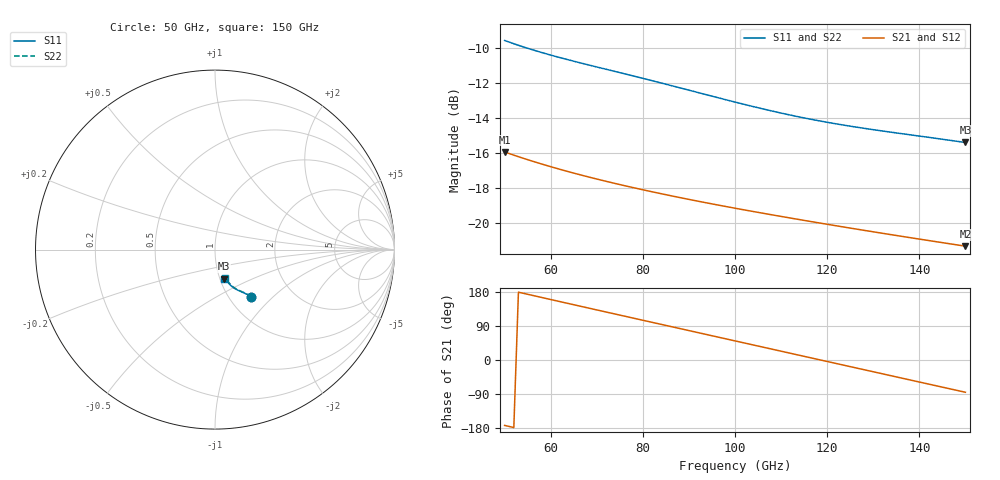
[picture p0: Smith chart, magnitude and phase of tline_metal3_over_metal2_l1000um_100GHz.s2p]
#  GHZ S DB R 50
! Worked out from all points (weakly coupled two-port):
!   101 points, 50 GHz to 150 GHz, reference 50 ohm
!   highest |S21| = -15.95 dB at 50 GHz (marker M1); lowest = -21.3 dB at 150 GHz (marker M2)
!   lowest |S11| = -15.4 dB at 150 GHz (marker M3), VSWR 1.41, Z = 52.2 - j17.4 ohm
!   |S11| at or under -10 dB: 54.52 GHz to end of sweep
!   |S22| runs from -15.6 to -9.6 dB; largest |S21 - S12| = 1.2e-13
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50  -9.59 -52.5  -15.95 -172.6  -15.95 -172.6  -9.61 -52.3
54  -9.96 -53.5  -16.31 176.2  -16.31 176.2  -9.98 -53.3
58  -10.28 -54.5  -16.64 165.1  -16.64 165.1  -10.30 -54.3
63  -10.64 -55.8  -17.02 151.4  -17.02 151.4  -10.67 -55.5
67  -10.91 -56.9  -17.30 140.4  -17.30 140.4  -10.94 -56.6
72  -11.24 -58.4  -17.63 126.7  -17.63 126.7  -11.27 -58.1
76  -11.49 -59.6  -17.87 115.8  -17.87 115.8  -11.54 -59.3
80  -11.76 -60.8  -18.11 104.9  -18.11 104.9  -11.80 -60.5
84  -12.02 -62.0  -18.34 94.0  -18.34 94.0  -12.08 -61.6
88  -12.29 -63.2  -18.55 83.1  -18.55 83.1  -12.35 -62.7
92  -12.57 -64.2  -18.76 72.2  -18.76 72.2  -12.63 -63.7
100  -13.11 -66.0  -19.16 50.4  -19.16 50.4  -13.19 -65.4
105  -13.43 -66.9  -19.40 36.8  -19.40 36.8  -13.53 -66.2
109  -13.68 -67.4  -19.58 26.0  -19.58 26.0  -13.78 -66.7
113  -13.90 -67.9  -19.77 15.1  -19.77 15.1  -14.02 -67.1
117  -14.11 -68.4  -19.94 4.2  -19.94 4.2  -14.23 -67.5
121  -14.31 -68.8  -20.12 -6.6  -20.12 -6.6  -14.43 -67.8
125  -14.48 -69.3  -20.29 -17.5  -20.29 -17.5  -14.61 -68.2
129  -14.64 -69.8  -20.46 -28.3  -20.46 -28.3  -14.78 -68.6
134  -14.83 -70.5  -20.67 -41.9  -20.67 -41.9  -14.97 -69.1
142  -15.12 -71.7  -21.00 -63.5  -21.00 -63.5  -15.26 -70.1
150  -15.41 -73.1  -21.33 -85.1  -21.33 -85.1  -15.55 -71.2
